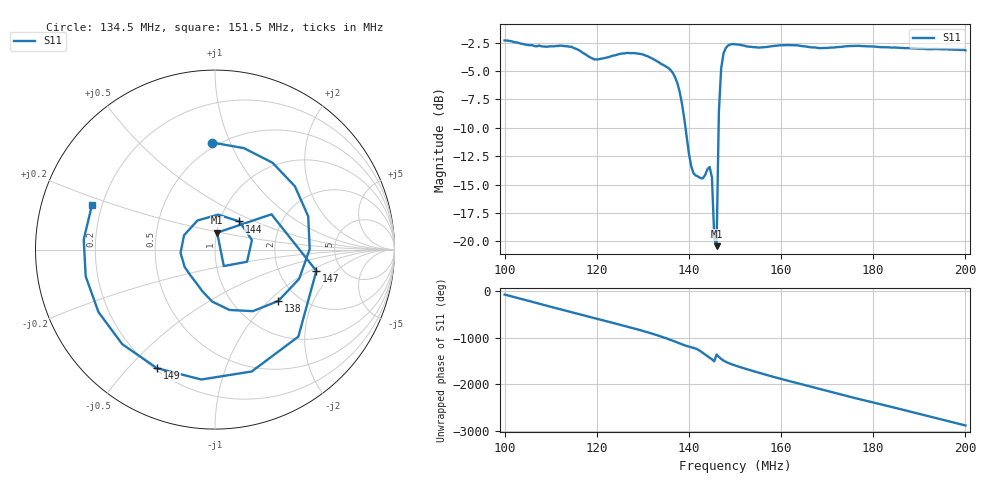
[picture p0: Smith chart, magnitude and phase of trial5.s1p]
#  HZ  S  RI  R  50.00
! Rohde & Schwarz ZVA40 2Ports - Version 3.12 - 1145.1110k40 SN: 100360
! Date: 2019-07-29 15:29:15
! Measurement: S11
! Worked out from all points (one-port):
!   201 points, 100 MHz to 200 MHz, reference 50 ohm
!   lowest |S11| = -20.4 dB at 146 MHz (marker M1), VSWR 1.21, Z = 50.3 + j9.6 ohm
!   |S11| at or under -10 dB: 139.3 MHz to 146.4 MHz (7.186 MHz wide, 5.03 % of centre)
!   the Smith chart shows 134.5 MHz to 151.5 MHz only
!   S11 on the Smith chart (normalised r, x): 134.5 MHz: 0.46, +0.86; 138 MHz: 1.58, -1.14; 144 MHz: 1.24, +0.41; 147 MHz: 3.28, -1.17; 149 MHz: 0.21, -0.60; 151.5 MHz: 0.16, +0.17
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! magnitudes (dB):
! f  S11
! 100 MHz  -2.3
! 112.5 MHz  -2.8
! 119.5 MHz  -4.0
! 125 MHz  -3.5
! 130 MHz  -3.5
! 134.5 MHz  -4.5
! 136.5 MHz  -5.2
! 137.5 MHz  -6.1
! 138 MHz  -6.9
! 139 MHz  -9.2
! 140 MHz  -12.3
! 141 MHz  -14.0
! 143 MHz  -14.5
! 144 MHz  -13.7
! 144.5 MHz  -13.5
! 145 MHz  -14.4
! 145.5 MHz  -19.7
! 146 MHz  -20.4
! 146.5 MHz  -8.6
! 147 MHz  -4.8
! 147.5 MHz  -3.5
! 149 MHz  -2.7
! 150 MHz  -2.7
! 151.5 MHz  -2.7
! 162.5 MHz  -2.7
! 175 MHz  -2.8
! 187.5 MHz  -3.0
! 200 MHz  -3.2
